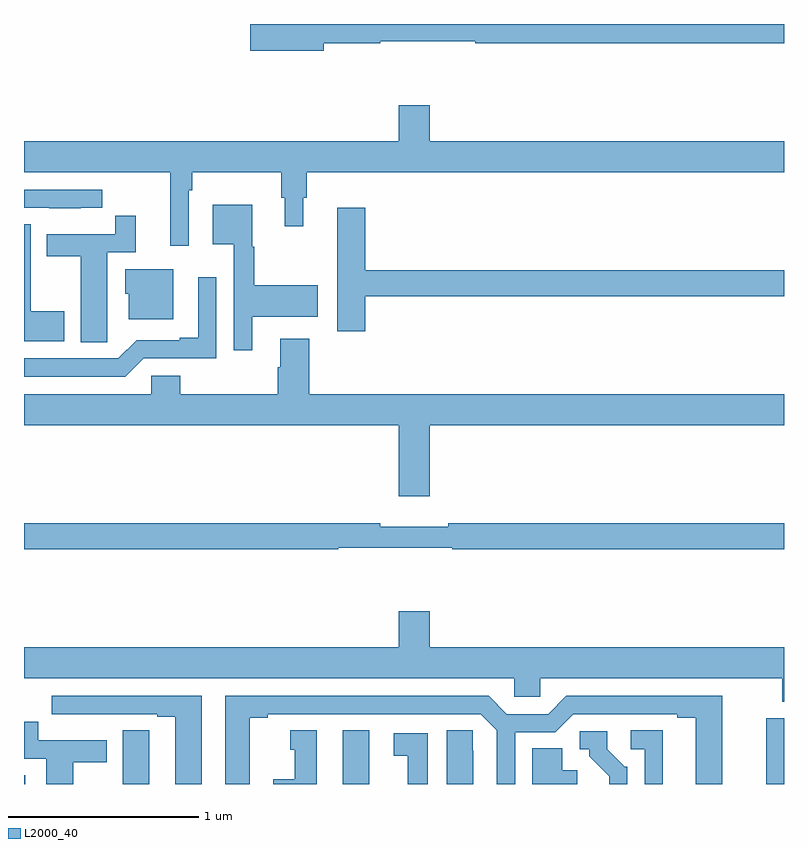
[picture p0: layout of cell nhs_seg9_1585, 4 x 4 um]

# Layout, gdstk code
import gdstk
lib = gdstk.Library(unit=1e-6, precision=1e-09)
def R(c, l, rs):  # rectangles x0, y0, x1, y1
    for r in rs: c.add(gdstk.rectangle(r[:2], r[2:], *l))
def P(c, l, *ps):  # polygons
    for p in ps: c.add(gdstk.Polygon(p, *l))
L2000_40 = (2000, 40)

nhs_seg9_1585 = lib.new_cell('nhs_seg9_1585')
R(nhs_seg9_1585, L2000_40, [(199,1226.5,199.006,1226.545), (200.678,1226.5,200.818,1226.782), (202.906,1226.5,203,1226.847)])
P(nhs_seg9_1585, L2000_40, [(200.578,1230.4),(200.874,1230.4),(200.874,1230.408),(201.374,1230.408),(201.374,1230.4),(203,1230.4),(203,1230.5),(200.19,1230.5),(200.19,1230.358),(200.578,1230.358)],
  [(199,1229.72),(199.769,1229.72),(199.769,1229.334),(199.866,1229.334),(199.866,1229.624),(199.886,1229.624),(199.886,1229.72),(200.353,1229.72),(200.353,1229.586),(200.372,1229.586),(200.372,1229.436),(200.47,1229.436),(200.47,1229.586),(200.489,1229.586),(200.489,1229.72),(203,1229.72),(203,1229.884),(201.136,1229.884),(201.136,1230.073),(200.972,1230.073),(200.972,1229.884),(199,1229.884)],
  [(199.298,1229.532),(199.411,1229.532),(199.411,1229.628),(199,1229.628),(199,1229.532),(199.132,1229.532),(199.132,1229.531),(199.298,1229.531)],
  [(200.2,1228.958),(200.545,1228.958),(200.545,1229.124),(200.212,1229.124),(200.212,1229.328),(200.2,1229.328),(200.2,1229.548),(199.994,1229.548),(199.994,1229.342),(200.103,1229.342),(200.103,1228.782),(200.2,1228.782)],
  [(200.795,1229.068),(203,1229.068),(203,1229.204),(200.795,1229.204),(200.795,1229.533),(200.648,1229.533),(200.648,1228.884),(200.795,1228.884)],
  [(199.437,1228.936),(199.438,1228.936),(199.438,1229.298),(199.589,1229.298),(199.589,1229.491),(199.48,1229.491),(199.48,1229.394),(199.121,1229.394),(199.121,1229.278),(199.298,1229.278),(199.298,1228.825),(199.437,1228.825)],
  [(199.213,1228.989),(199.036,1228.989),(199.036,1229.447),(199,1229.447),(199,1228.829),(199.213,1228.829)],
  [(199.786,1229.209),(199.532,1229.209),(199.532,1229.079),(199.55,1229.079),(199.55,1228.946),(199.786,1228.946)],
  [(199.629,1228.74),(200.013,1228.74),(200.013,1229.167),(199.916,1229.167),(199.916,1228.849),(199.82,1228.849),(199.82,1228.836),(199.593,1228.836),(199.497,1228.74),(199,1228.74),(199,1228.644),(199.533,1228.644)],
  [(201.136,1228.388),(203,1228.388),(203,1228.552),(200.501,1228.552),(200.501,1228.843),(200.348,1228.843),(200.348,1228.694),(200.336,1228.694),(200.336,1228.552),(199.823,1228.552),(199.823,1228.65),(199.671,1228.65),(199.671,1228.552),(199,1228.552),(199,1228.388),(200.972,1228.388),(200.972,1228.014),(201.136,1228.014)],
  [(200.655,1227.744),(201.255,1227.744),(201.255,1227.736),(203,1227.736),(203,1227.872),(201.232,1227.872),(201.232,1227.853),(200.876,1227.853),(200.876,1227.872),(199,1227.872),(199,1227.736),(200.655,1227.736)],
  [(203,1227.22),(201.136,1227.22),(201.136,1227.409),(200.972,1227.409),(200.972,1227.22),(199,1227.22),(199,1227.056),(201.579,1227.056),(201.579,1226.958),(201.717,1226.958),(201.717,1227.056),(202.99,1227.056),(202.99,1226.932),(203,1226.932)],
  [(199.936,1226.964),(199.146,1226.964),(199.146,1226.868),(199.258,1226.868),(199.258,1226.867),(199.424,1226.867),(199.424,1226.868),(199.7,1226.868),(199.7,1226.853),(199.796,1226.853),(199.796,1226.5),(199.936,1226.5)],
  [(200.188,1226.848),(200.284,1226.848),(200.284,1226.868),(201.405,1226.868),(201.489,1226.784),(201.489,1226.5),(201.585,1226.5),(201.585,1226.772),(201.795,1226.772),(201.891,1226.868),(202.439,1226.868),(202.439,1226.848),(202.535,1226.848),(202.535,1226.5),(202.675,1226.5),(202.675,1226.964),(201.855,1226.964),(201.759,1226.868),(201.541,1226.868),(201.445,1226.964),(200.06,1226.964),(200.06,1226.5),(200.188,1226.5)],
  [(199.258,1226.614),(199.435,1226.614),(199.435,1226.73),(199.076,1226.73),(199.076,1226.827),(199,1226.827),(199,1226.634),(199.118,1226.634),(199.118,1226.5),(199.258,1226.5)],
  [(199.66,1226.675),(199.659,1226.675),(199.659,1226.783),(199.52,1226.783),(199.52,1226.5),(199.66,1226.5)],
  [(202.363,1226.783),(202.194,1226.783),(202.194,1226.682),(202.266,1226.682),(202.266,1226.5),(202.363,1226.5)],
  [(201.364,1226.675),(201.363,1226.675),(201.363,1226.783),(201.224,1226.783),(201.224,1226.5),(201.364,1226.5)],
  [(200.542,1226.782),(200.402,1226.782),(200.402,1226.679),(200.426,1226.679),(200.426,1226.524),(200.312,1226.524),(200.312,1226.5),(200.542,1226.5)],
  [(202.176,1226.592),(202.161,1226.592),(202.071,1226.682),(202.071,1226.778),(201.924,1226.778),(201.924,1226.682),(201.974,1226.682),(201.974,1226.647),(202.079,1226.542),(202.079,1226.5),(202.176,1226.5)],
  [(201.124,1226.766),(200.946,1226.766),(200.946,1226.65),(201.02,1226.65),(201.02,1226.5),(201.124,1226.5)],
  [(201.913,1226.572),(201.832,1226.572),(201.832,1226.687),(201.674,1226.687),(201.674,1226.5),(201.913,1226.5)])

lib.write_gds('nhs_seg9_1585.gds')
